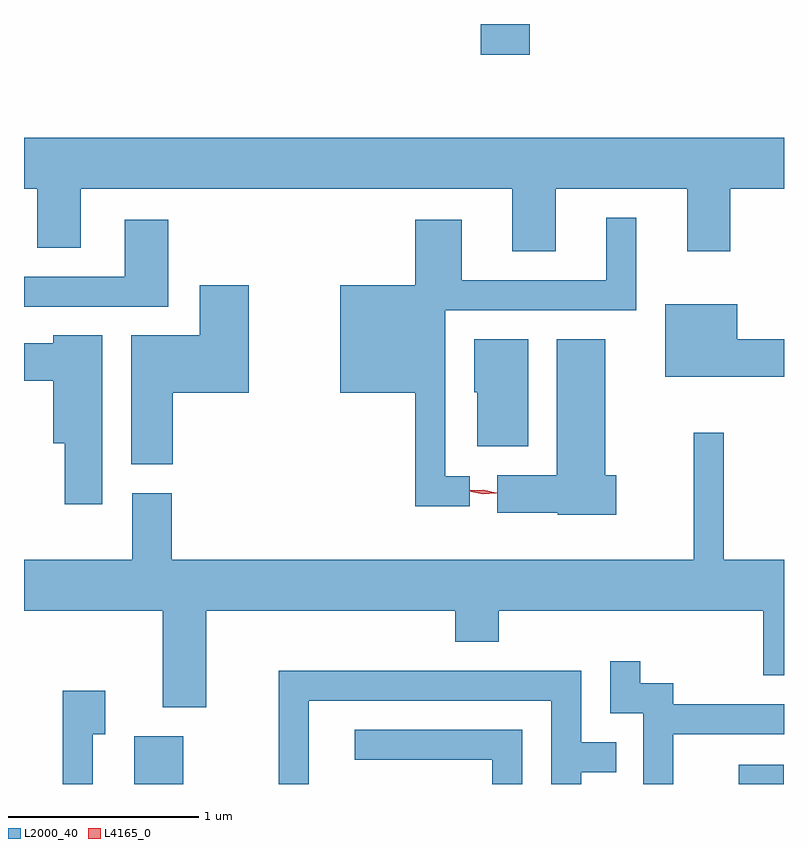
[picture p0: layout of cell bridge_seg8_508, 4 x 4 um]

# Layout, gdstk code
import gdstk
lib = gdstk.Library(unit=1e-6, precision=1e-09)
def R(c, l, rs):  # rectangles x0, y0, x1, y1
    for r in rs: c.add(gdstk.rectangle(r[:2], r[2:], *l))
def P(c, l, *ps):  # polygons
    for p in ps: c.add(gdstk.Polygon(p, *l))
L2000_40 = (2000, 40)
L4165_0 = (4165, 0)

bridge_seg8_508 = lib.new_cell('bridge_seg8_508')
R(bridge_seg8_508, L2000_40, [(264.871,1842.163,265.129,1842.414), (268.053,1842.163,268.289,1842.264), (266.696,1846.001,266.954,1846.163)])
P(bridge_seg8_508, L2000_40, [(267.089,1845.296),(267.781,1845.296),(267.781,1844.966),(268.009,1844.966),(268.009,1845.296),(268.291,1845.296),(268.291,1845.564),(264.291,1845.564),(264.291,1845.296),(264.361,1845.296),(264.361,1844.986),(264.589,1844.986),(264.589,1845.296),(266.861,1845.296),(266.861,1844.966),(267.089,1844.966)],
  [(266.638,1843.784),(266.509,1843.784),(266.509,1844.656),(267.514,1844.656),(267.514,1845.143),(267.356,1845.143),(267.356,1844.814),(266.594,1844.814),(266.594,1845.134),(266.351,1845.134),(266.351,1844.789),(265.956,1844.789),(265.956,1844.221),(266.351,1844.221),(266.351,1843.626),(266.638,1843.626)],
  [(265.049,1845.134),(264.821,1845.134),(264.821,1844.834),(264.291,1844.834),(264.291,1844.676),(265.049,1844.676)],
  [(265.074,1844.221),(265.474,1844.221),(265.474,1844.789),(265.216,1844.789),(265.216,1844.524),(264.856,1844.524),(264.856,1843.846),(265.074,1843.846)],
  [(268.291,1844.504),(268.044,1844.504),(268.044,1844.689),(267.666,1844.689),(267.666,1844.306),(268.291,1844.306)],
  [(264.704,1844.524),(264.446,1844.524),(264.446,1844.484),(264.291,1844.484),(264.291,1844.286),(264.446,1844.286),(264.446,1843.956),(264.506,1843.956),(264.506,1843.636),(264.704,1843.636)],
  [(266.944,1844.504),(266.661,1844.504),(266.661,1844.225),(266.676,1844.225),(266.676,1843.941),(266.944,1843.941)],
  [(267.409,1843.789),(267.349,1843.789),(267.349,1844.504),(267.096,1844.504),(267.096,1843.789),(266.781,1843.789),(266.781,1843.591),(267.1,1843.591),(267.1,1843.581),(267.409,1843.581)],
  [(265.249,1843.076),(266.561,1843.076),(266.561,1842.911),(266.789,1842.911),(266.789,1843.076),(268.181,1843.076),(268.181,1842.736),(268.291,1842.736),(268.291,1843.344),(267.974,1843.344),(267.974,1844.013),(267.816,1844.013),(267.816,1843.344),(265.069,1843.344),(265.069,1843.694),(264.861,1843.694),(264.861,1843.344),(264.291,1843.344),(264.291,1843.076),(265.021,1843.076),(265.021,1842.566),(265.249,1842.566)],
  [(267.709,1842.426),(268.291,1842.426),(268.291,1842.584),(267.709,1842.584),(267.709,1842.694),(267.534,1842.694),(267.534,1842.808),(267.376,1842.808),(267.376,1842.536),(267.551,1842.536),(267.551,1842.163),(267.709,1842.163)],
  [(265.789,1842.601),(267.066,1842.601),(267.066,1842.163),(267.224,1842.163),(267.224,1842.226),(267.408,1842.226),(267.408,1842.384),(267.224,1842.384),(267.224,1842.759),(265.631,1842.759),(265.631,1842.163),(265.789,1842.163)],
  [(264.654,1842.426),(264.719,1842.426),(264.719,1842.654),(264.496,1842.654),(264.496,1842.163),(264.654,1842.163)],
  [(266.914,1842.449),(266.033,1842.449),(266.033,1842.291),(266.756,1842.291),(266.756,1842.163),(266.914,1842.163)])
P(bridge_seg8_508, L4165_0, [(266.707,1843.691),(266.64,1843.707),(266.639,1843.707),(266.64,1843.708),(266.709,1843.711),(266.777,1843.695),(266.778,1843.695),(266.777,1843.694)],
  [(266.707,1843.687),(266.642,1843.702),(266.642,1843.702),(266.642,1843.703),(266.709,1843.707),(266.774,1843.693),(266.775,1843.692),(266.774,1843.692)])

lib.write_gds('bridge_seg8_508.gds')
